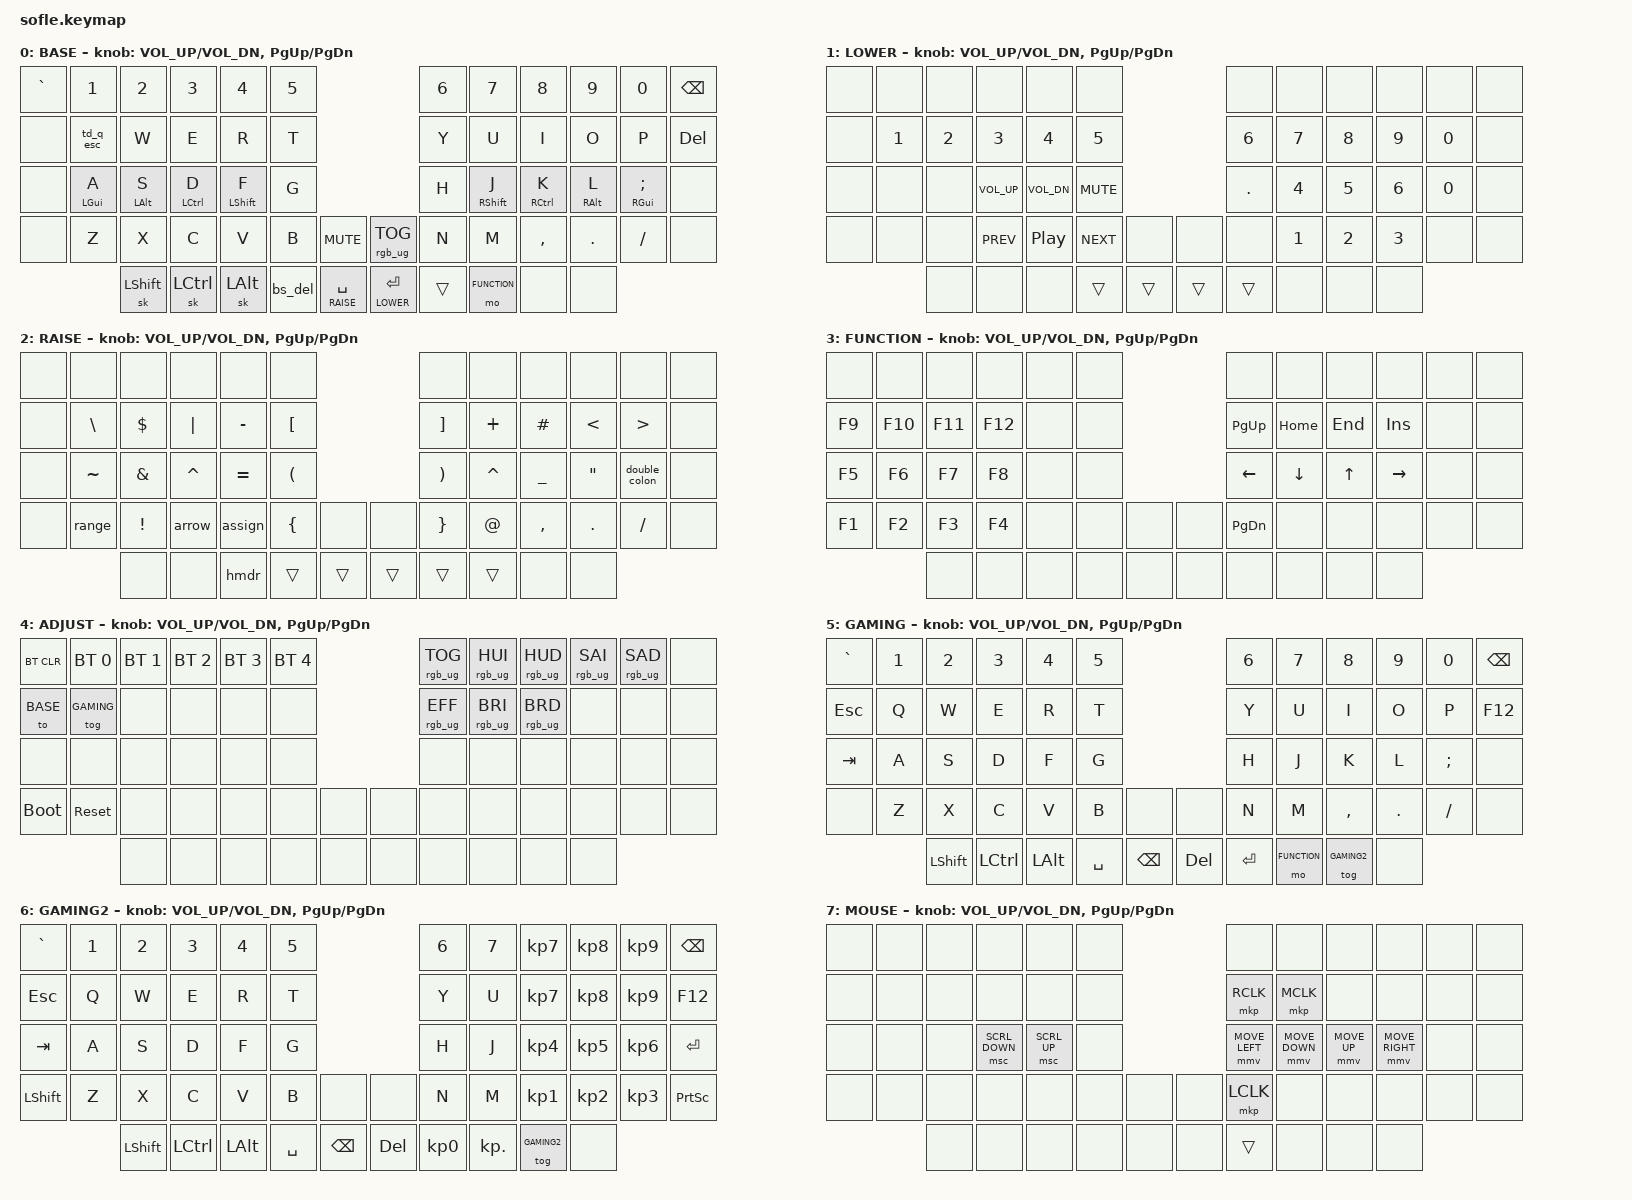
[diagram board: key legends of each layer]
/*
 * Ported from Mitosis QMK to Sofle ZMK
 * Copyright (c) 2020 The ZMK Contributors
 * SPDX-License-Identifier: MIT
 */

// clang-format off
#include <behaviors.dtsi>
#include <dt-bindings/zmk/bt.h>
#include <dt-bindings/zmk/keys.h>
#include <dt-bindings/zmk/rgb.h>
#include <dt-bindings/zmk/ext_power.h>
#include <dt-bindings/zmk/mouse.h>
#include <dt-bindings/zmk/pointing.h>

// shared files to cleanup the keymaps and have code re-use
#include "shared/behaviors.dtsi"
#include "shared/combos.dtsi"
#include "shared/macros.dtsi"

// zmk-helper stuff
#include "zmk-helpers/helper.h"

// Source desired key-position labels
#include "zmk-helpers/key-labels/sofle.h"

#define BASE 0
#define LOWER 1
#define RAISE 2
#define FUNCTION 3
#define ADJUST 4
#define GAMING 5
#define GAMING2 6
#define MOUSE 7

#define ZMK_LAYER(name, layout) \
    name { \
        bindings = <layout>; \
    };

/ {

chosen {
        zmk,underglow = &led_strip;
    };

    behaviors {
        hm_l: homerow_mods_left {
            compatible = "zmk,behavior-hold-tap";
            #binding-cells = <2>;
            tapping-term-ms = <200>;
            quick-tap-ms = <175>;
            require-prior-idle-ms = <150>;
            flavor = "balanced";
            bindings = <&kp>, <&kp>;
            hold-trigger-key-positions = <5 6 7 8 9 15 16 17 18 19 25 26 27 28 29 30 31 32 33>;
            hold-trigger-on-release;
        };

        hm_r: homerow_mods_right {
            compatible = "zmk,behavior-hold-tap";
            #binding-cells = <2>;
            tapping-term-ms = <200>;
            quick-tap-ms = <175>;
            require-prior-idle-ms = <150>;
            flavor = "balanced";
            bindings = <&kp>, <&kp>;
            hold-trigger-key-positions = <0 1 2 3 4 10 11 12 13 14 20 21 22 23 24 30 31 32 33>;
            hold-trigger-on-release;
        };

        bs_del: backspace_delete {
            compatible = "zmk,behavior-mod-morph";
            #binding-cells = <0>;
            bindings = <&kp BSPC>, <&kp DEL>;
            mods = <(MOD_LSFT|MOD_RSFT)>;
        };

        td_q_esc: tap_dance_q_esc {
            compatible = "zmk,behavior-tap-dance";
            #binding-cells = <0>;
            tapping-term-ms = <200>;
            bindings = <&kp Q>, <&kp ESC>;
        };
    };

    macros {
        assign: assign_macro {
            compatible = "zmk,behavior-macro";
            #binding-cells = <0>;
            bindings = <&kp COLON &kp EQUAL>;
        };
        arrow: arrow_macro {
            compatible = "zmk,behavior-macro";
            #binding-cells = <0>;
            bindings = <&kp MINUS &kp GT>;
        };
        double_colon: double_colon_macro {
            compatible = "zmk,behavior-macro";
            #binding-cells = <0>;
            bindings = <&kp COLON &kp COLON>;
        };
        dotdot: dotdot_macro {
            compatible = "zmk,behavior-macro";
            #binding-cells = <0>;
            bindings = <&kp DOT &kp DOT &kp FSLH>;
        };
        range: range_macro {
            compatible = "zmk,behavior-macro";
            #binding-cells = <0>;
            bindings = <&kp DOT &kp DOT &kp EQUAL>;
        };
        hmdr: hmdr_macro {
            compatible = "zmk,behavior-macro";
            #binding-cells = <0>;
            bindings = <&kp TILDE &kp FSLH>;
        };
    };

    conditional_layers {
        compatible = "zmk,conditional-layers";
        tri_layer {
            if-layers = <1 2>; // lower and raise
            then-layer = <4>;
        };
    };

    combos {
        compatible = "zmk,combos";
        combo_esc {
            timeout-ms = <50>;
            key-positions = <16 17>;
            bindings = <&kp ESC>;
            layers = <BASE>;
        };
        combo_caps_word {
            timeout-ms = <50>;
            key-positions = <13 16>;
            bindings = <&caps_word>;
        };
    };

    keymap {
        compatible = "zmk,keymap";

        // BASE LAYER
        default_layer {
            display-name = "BASE";
// ╭─────┬─────┬─────┬─────┬─────┬─────╮                 ╭─────┬─────┬─────┬─────┬─────┬─────╮
// │  `  │  1  │  2  │  3  │  4  │  5  │                 │  6  │  7  │  8  │  9  │  0  │BKSPC│
// ├─────┼─────┼─────┼─────┼─────┼─────┤                 ├─────┼─────┼─────┼─────┼─────┼─────┤
// │     │  Q  │  W  │  E  │  R  │  T  │                 │  Y  │  U  │  I  │  O  │  P  │ DEL │
// ├─────┼─────┼─────┼─────┼─────┼─────┤                 ├─────┼─────┼─────┼─────┼─────┼─────┤
// │     │  A  │  S  │  D  │  F  │  G  │                 │  H  │  J  │  K  │  L  │  ;  │  '  │
// ├─────┼─────┼─────┼─────┼─────┼─────┼─────╮     ╭─────┼─────┼─────┼─────┼─────┼─────┼─────┤
// │     │  Z  │  X  |  C  │  V  │  B  │ ENC │     │ ENC │  N  │  M  │  ,  │  .  │  /  │     │
// ╰─────┴─────┼─────┼─────┼─────┼─────┼─────┤     ├─────┼─────┼─────┼─────┼─────┴─────┴─────╯
//             │     │     │     │BKSPC|SP/RA│     │EN/LO│     │     │     │     │
//             ╰─────┴─────┴─────┴─────┴─────╯     ╰─────┴─────┴─────┴─────┴─────╯
            bindings = <
&kp GRAVE &kp N1 &kp N2 &kp N3    &kp N4    &kp N5                                             &kp N6       &kp N7    &kp N8   &kp N9   &kp N0   &kp BSPC
&none     &td_q_esc     &kp W     &kp E     &kp R &kp T                                        &kp Y        &kp U     &kp I    &kp O    &kp P    &kp DEL
&none    &hm_l LGUI A &hm_l LALT S &hm_l LCTRL D &hm_l LSHFT F &kp G                           &kp H  &hm_r RSHFT J &hm_r RCTRL K &hm_r RALT L &hm_r RGUI SEMI &none
&none    &kp Z  &kp X  &kp C     &kp V     &kp B     &kp C_MUTE             &rgb_ug RGB_TOG    &kp N         &kp M      &kp COMMA  &kp DOT  &kp FSLH        &none
                    &sk LSHFT &sk LCTRL &sk LALT &bs_del &lt RAISE SPACE    &lt LOWER RET &trans &mo FUNCTION &none    &none
            >;

            sensor-bindings = <&inc_dec_kp C_VOL_UP C_VOL_DN &inc_dec_kp PG_UP PG_DN>;
        };

        // LOWER LAYER - Numbers and Media
        lower_layer {
            display-name = "LOWER";
// ╭─────┬─────┬─────┬─────┬─────┬─────╮                 ╭─────┬─────┬─────┬─────┬─────┬─────╮
// │     │     │     │     │     │     │                 │     │     │     │     │     │     │
// ├─────┼─────┼─────┼─────┼─────┼─────┤                 ├─────┼─────┼─────┼─────┼─────┼─────┤
// │     │  1  │  2  │  3  │  4  │  5  │                 │  6  │  7  │  8  │  9  │  0  │     │
// ├─────┼─────┼─────┼─────┼─────┼─────┤                 ├─────┼─────┼─────┼─────┼─────┼─────┤
// │     │     │     │VOLUP│VOLDN│MUTE |                 │  .  │  4  │  5  │  6  │  0  │     │
// ├─────┼─────┼─────┼─────┼─────┼─────┼─────╮     ╭─────┼─────┼─────┼─────┼─────┼─────┼─────┤
// │     │     │     │ PREV│PLYPS│NEXT │     │     │     │     │  1  │  2  │  3  │     │     │
// ╰─────┴─────┼─────┼─────┼─────┼─────┼─────┤     ├─────┼─────┼─────┼─────┼─────┴─────┴─────╯
//             │     │     │     │     │     │     │     │     │     │     │     │
//             ╰─────┴─────┴─────┴─────┴─────╯     ╰─────┴─────┴─────┴─────┴─────╯
            bindings = <
&none  &none  &none     &none     &none     &none                       &none    &none  &none  &none  &none &none
&none  &kp N1 &kp N2    &kp N3    &kp N4    &kp N5                      &kp N6   &kp N7 &kp N8 &kp N9 &kp N0 &none
&none  &none &none  &kp C_VOL_UP &kp C_VOL_DN &kp C_MUTE                &kp DOT  &kp N4 &kp N5 &kp N6 &kp N0 &none
&none  &none &none  &kp C_PREV   &kp C_PP  &kp C_NEXT   &none    &none  &none    &kp N1 &kp N2 &kp N3 &none  &none
              &none     &none     &none     &trans      &trans   &trans &trans   &none  &none  &none
            >;

            sensor-bindings = <&inc_dec_kp C_VOL_UP C_VOL_DN &inc_dec_kp PG_UP PG_DN>;
        };

        // RAISE LAYER - Symbols
        raise_layer {
            display-name = "RAISE";
// ╭─────┬─────┬─────┬─────┬─────┬─────╮                 ╭─────┬─────┬─────┬─────┬─────┬─────╮
// │     │     │     │     │     │     │                 │     │     │     │     │     │     │
// ├─────┼─────┼─────┼─────┼─────┼─────┤                 ├─────┼─────┼─────┼─────┼─────┼─────┤
// │     │  \  │  $  │  |  │  -  │  [  │                 │  ]  │  +  │  #  │  ;  │ ::  │     │
// ├─────┼─────┼─────┼─────┼─────┼─────┤                 ├─────┼─────┼─────┼─────┼─────┼─────┤
// │     │  ~  │  &  │  *  │  =  │  (  │                 │  )  │  ^  │  _  │  %  │  :  │     │
// ├─────┼─────┼─────┼─────┼─────┼─────┼─────╮     ╭─────┼─────┼─────┼─────┼─────┼─────┼─────┤
// │     │ ..= │  !  │  '  │  "  │  {  │     │     │     │  }  │  @  │  <  │  >  │  ?  │     │
// ╰─────┴─────┼─────┼─────┼─────┼─────┼─────┤     ├─────┼─────┼─────┼─────┼─────┴─────┴─────╯
//             │     │     │     │HOLD │     │     │SPACE│LOWER│     │     │     │
//             ╰─────┴─────┴─────┴─────┴─────╯     ╰─────┴─────┴─────┴─────┴─────╯
            bindings = <
&none     &none    &none    &none    &none     &none                        &none     &none     &none    &none   &none  &none
&none &kp BSLH &kp DLLR &kp PIPE &kp MINUS &kp LBKT                          &kp RBKT  &kp PLUS  &kp HASH &kp LT  &kp GT &none
&none &kp TILDE &kp AMPS &kp CARET &kp EQUAL &kp LPAR                        &kp RPAR  &kp CARET &kp UNDER &kp DQT &double_colon  &none
&none &range    &kp EXCL &arrow   &assign  &kp LBRC      &none      &none   &kp RBRC  &kp AT    &kp COMMA &kp DOT &kp FSLH &none
                   &none    &none    &hmdr     &trans   &trans      &trans &trans  &trans &none &none
            >;

            sensor-bindings = <&inc_dec_kp C_VOL_UP C_VOL_DN &inc_dec_kp PG_UP PG_DN>;
        };

        // FUNCTION LAYER - F-keys and Navigation
        function_layer {
            display-name = "FUNCTION";
// ╭─────┬─────┬─────┬─────┬─────┬─────╮                 ╭─────┬─────┬─────┬─────┬─────┬─────╮
// │     │     │     │     │     │     │                 │     │     │     │     │     │     │
// ├─────┼─────┼─────┼─────┼─────┼─────┤                 ├─────┼─────┼─────┼─────┼─────┼─────┤
// │  F9 │ F10 │ F11 │ F12 │     │     │                 │PGUP │HOME │ END │ INS │     │     │
// ├─────┼─────┼─────┼─────┼─────┼─────┤                 ├─────┼─────┼─────┼─────┼─────┼─────┤
// │  F5 │  F6 │  F7 │  F8 │     │     │                 │LEFT │DOWN │ UP  │RIGHT│     │     │
// ├─────┼─────┼─────┼─────┼─────┼─────┼─────╮     ╭─────┼─────┼─────┼─────┼─────┼─────┼─────┤
// │  F1 │  F2 │  F3 │  F4 │     │     │     │     │     │PGDN │     │     │     │     │     │
// ╰─────┴─────┼─────┼─────┼─────┼─────┼─────┤     ├─────┼─────┼─────┼─────┼─────┴─────┴─────╯
//             │     │     │     │     │     │     │     │     │     │     │     │
//             ╰─────┴─────┴─────┴─────┴─────╯     ╰─────┴─────┴─────┴─────┴─────╯
            bindings = <
&none  &none  &none  &none     &none  &none                      &none     &none     &none   &none      &none &none
&kp F9 &kp F10 &kp F11 &kp F12 &none &none                       &kp PG_UP &kp HOME  &kp END &kp INS    &none &none
&kp F5 &kp F6 &kp F7 &kp F8    &none  &none                      &kp LEFT  &kp DOWN  &kp UP  &kp RIGHT  &none &none
&kp F1 &kp F2 &kp F3 &kp F4    &none  &none   &none      &none   &kp PG_DN &none     &none   &none      &none &none
              &none  &none     &none  &none   &none      &none   &none     &none &none   &none
            >;

            sensor-bindings = <&inc_dec_kp C_VOL_UP C_VOL_DN &inc_dec_kp PG_UP PG_DN>;
        };

        // ADJUST LAYER - System controls and RGB
        adjust_layer {
            display-name = "ADJUST";
// ╭─────┬─────┬─────┬─────┬─────┬─────╮                 ╭─────┬─────┬─────┬─────┬─────┬─────╮
// │BTCLR│ BT0 │ BT1 │ BT2 │ BT3 │ BT4 │                 │RGBTG│RGBH+│RGBH-│RGBS+│RGBS-│     │
// ├─────┼─────┼─────┼─────┼─────┼─────┤                 ├─────┼─────┼─────┼─────┼─────┼─────┤
// │BASE │GAMIN│     │     │     │     │                 │RGBEF│RGBB+│RGBB-│     │     │     │
// ├─────┼─────┼─────┼─────┼─────┼─────┤                 ├─────┼─────┼─────┼─────┼─────┼─────┤
// │     │     │     │     │     │     │                 │     │     │     │     │     │     │
// ├─────┼─────┼─────┼─────┼─────┼─────┼─────╮     ╭─────┼─────┼─────┼─────┼─────┼─────┼─────┤
// │BOOT │RESET│     │     │     │     │     │     │     │     │     │     │     │     │     │
// ╰─────┴─────┼─────┼─────┼─────┼─────┼─────┤     ├─────┼─────┼─────┼─────┼─────┼─────┴─────╯
//             │     │     │     │     │     │     │     │     │     │     │     │
//             ╰─────┴─────┴─────┴─────┴─────╯     ╰─────┴─────┴─────┴─────┴─────╯
            bindings = <
&bt BT_CLR     &bt BT_SEL 0 &bt BT_SEL 1 &bt BT_SEL 2 &bt BT_SEL 3 &bt BT_SEL 4            &rgb_ug RGB_TOG &rgb_ug RGB_HUI &rgb_ug RGB_HUD &rgb_ug RGB_SAI &rgb_ug RGB_SAD &none
&to BASE       &tog GAMING  &none        &none        &none        &none                   &rgb_ug RGB_EFF &rgb_ug RGB_BRI &rgb_ug RGB_BRD &none           &none           &none
&none          &none        &none        &none        &none        &none                   &none           &none           &none           &none           &none           &none
&bootloader    &sys_reset   &none        &none        &none        &none &none       &none &none           &none           &none           &none           &none           &none
                            &none        &none        &none        &none &none       &none &none           &none           &none           &none
            >;

            sensor-bindings = <&inc_dec_kp C_VOL_UP C_VOL_DN &inc_dec_kp PG_UP PG_DN>;
        };

        // GAMING LAYER - No home row mods for gaming
        gaming_layer {
            display-name = "GAMING";
// ╭─────┬─────┬─────┬─────┬─────┬─────╮                 ╭─────┬─────┬─────┬─────┬─────┬─────╮
// │  `  │  1  │  2  │  3  │  4  │  5  │                 │  6  │  7  │  8  │  9  │  0  │BKSPC│
// ├─────┼─────┼─────┼─────┼─────┼─────┤                 ├─────┼─────┼─────┼─────┼─────┼─────┤
// │ ESC │  Q  │  W  │  E  │  R  │  T  │                 │  Y  │  U  │  I  │  O  │  P  │     │
// ├─────┼─────┼─────┼─────┼─────┼─────┤                 ├─────┼─────┼─────┼─────┼─────┼─────┤
// │ TAB │  A  │  S  │  D  │  F  │  G  │                 │  H  │  J  │  K  │  L  │  ;  │     │
// ├─────┼─────┼─────┼─────┼─────┼─────┼─────╮     ╭─────┼─────┼─────┼─────┼─────┼─────┼─────┤
// │     │  Z  │  X  |  C  │  V  │  B  │     │     │     │  N  │  M  │  ,  │  .  │  /  │     │
// ╰─────┴─────┼─────┼─────┼─────┼─────┼─────┤     ├─────┼─────┼─────┼─────┼─────┴─────┴─────╯
//             │SHIFT│ CTRL│ ALT │SPACE│BKSPC│     │ DEL │ENTER│ FN  │TOGGL│     │
//             ╰─────┴─────┴─────┴─────┴─────╯     ╰─────┴─────┴─────┴─────┴─────╯
            bindings = <
&kp GRAVE &kp N1 &kp N2 &kp N3 &kp N4 &kp N5                          &kp N6 &kp N7 &kp N8 &kp N9 &kp N0 &kp BSPC
&kp ESC &kp Q &kp W &kp E &kp R &kp T                                 &kp Y &kp U &kp I &kp O &kp P &kp F12
&kp TAB &kp A &kp S &kp D &kp F &kp G                                 &kp H &kp J &kp K &kp L &kp SEMI &none
&none &kp Z &kp X &kp C &kp V &kp B &none                  &none      &kp N &kp M &kp COMMA &kp DOT &kp FSLH &none
            &kp LSHFT &kp LCTRL &kp LALT &kp SPACE &kp BSPC           &kp DEL &kp RET &mo FUNCTION &tog GAMING2 &none
            >;

            sensor-bindings = <&inc_dec_kp C_VOL_UP C_VOL_DN &inc_dec_kp PG_UP PG_DN>;
        };

        // GAMING2 LAYER - Numpad for roguelikes
        gaming2_layer {
            display-name = "GAMING2";
// ╭─────┬─────┬─────┬─────┬─────┬─────╮                 ╭─────┬─────┬─────┬─────┬─────┬─────╮
// │  `  │  1  │  2  │  3  │  4  │  5  │                 │  6  │  7  │  8  │  9  │  0  │BKSPC│
// ├─────┼─────┼─────┼─────┼─────┼─────┤                 ├─────┼─────┼─────┼─────┼─────┼─────┤
// │ ESC │  Q  │  W  │  E  │  R  │  T  │                 │  Y  │  U  │ KP7 │ KP8 │ KP9 │ F12 │
// ├─────┼─────┼─────┼─────┼─────┼─────┤                 ├─────┼─────┼─────┼─────┼─────┼─────┤
// │ TAB │  A  │  S  │  D  │  F  │  G  │                 │  H  │  J  │ KP4 │ KP5 │ KP6 │ENTER│
// ├─────┼─────┼─────┼─────┼─────┼─────┼─────╮     ╭─────┼─────┼─────┼─────┼─────┼─────┼─────┤
// │SHIFT│  Z  │  X  |  C  │  V  │  B  │     │     │     │  N  │  M  │ KP1 │ KP2 │ KP3 │PRTSC│
// ╰─────┴─────┼─────┼─────┼─────┼─────┼─────┤     ├─────┼─────┼─────┼─────┼─────┴─────┴─────╯
//             │SHIFT│ CTRL│ ALT │SPACE│BKSPC│     │ DEL │ KP0 │ KP. │TOGGL│     │
//             ╰─────┴─────┴─────┴─────┴─────╯     ╰─────┴─────┴─────┴─────┴─────╯
            bindings = <
&kp GRAVE &kp N1 &kp N2 &kp N3 &kp N4 &kp N5                          &kp N6 &kp N7 &kp KP_N7 &kp KP_N8 &kp KP_N9 &kp BSPC
&kp ESC &kp Q &kp W &kp E &kp R &kp T                                 &kp Y &kp U &kp KP_N7 &kp KP_N8 &kp KP_N9 &kp F12
&kp TAB &kp A &kp S &kp D &kp F &kp G                                 &kp H &kp J &kp KP_N4 &kp KP_N5 &kp KP_N6 &kp RET
&kp LSHFT &kp Z &kp X &kp C &kp V &kp B &none              &none      &kp N &kp M &kp KP_N1 &kp KP_N2 &kp KP_N3 &kp PSCRN
            &kp LSHFT &kp LCTRL &kp LALT &kp SPACE &kp BSPC           &kp DEL &kp KP_N0 &kp KP_DOT &tog GAMING2 &none
            >;

            sensor-bindings = <&inc_dec_kp C_VOL_UP C_VOL_DN &inc_dec_kp PG_UP PG_DN>;
        };

        // MOUSE LAYER - Vim-style mouse control
        mouse_layer {
            display-name = "MOUSE";
// ╭─────┬─────┬─────┬─────┬─────┬─────╮                 ╭─────┬─────┬─────┬─────┬─────┬─────╮
// │     │     │     │     │     │     │                 │     │     │     │     │     │     │
// ├─────┼─────┼─────┼─────┼─────┼─────┤                 ├─────┼─────┼─────┼─────┼─────┼─────┤
// │     │     │     │     │     │     │                 │RCLK │MCLK │     │     │     │     │
// ├─────┼─────┼─────┼─────┼─────┼─────┤                 ├─────┼─────┼─────┼─────┼─────┼─────┤
// │     │     │     │SCR↓ │SCR↑ │     │                 │  ←  │  ↓  │  ↑  │  →  │     │     │
// ├─────┼─────┼─────┼─────┼─────┼─────┼─────╮     ╭─────┼─────┼─────┼─────┼─────┼─────┼─────┤
// │     │     │     │     │     │     │     │     │     │LCLK │     │     │     │     │     │
// ╰─────┴─────┼─────┼─────┼─────┼─────┼─────┤     ├─────┼─────┼─────┼─────┼─────┴─────┴─────╯
//             │     │     │     │     │     │     │     │     │MOUSE│     │     │
//             ╰─────┴─────┴─────┴─────┴─────╯     ╰─────┴─────┴─────┴─────┴─────╯
            bindings = <
&none &none &none &none &none &none                                           &none &none &none &none &none &none
&none &none &none &none &none &none                                           &mkp RCLK &mkp MCLK &none &none &none &none
&none &none &none &msc SCRL_DOWN &msc SCRL_UP &none                           &mmv MOVE_LEFT &mmv MOVE_DOWN &mmv MOVE_UP &mmv MOVE_RIGHT &none &none
&none &none &none &none &none &none &none                          &none      &mkp LCLK &none &none &none &none &none
            &none &none &none &none &none                                     &none &trans &none &none &none
            >;

            sensor-bindings = <&inc_dec_kp C_VOL_UP C_VOL_DN &inc_dec_kp PG_UP PG_DN>;
        };
    };
};


/* Blank slates

    ╭─────┬─────┬─────┬─────┬─────┬─────╮                 ╭─────┬─────┬─────┬─────┬─────┬─────╮
    │     │     │     │     │     │     │                 │     │     │     │     │     │     │
    ├─────┼─────┼─────┼─────┼─────┼─────┤                 ├─────┼─────┼─────┼─────┼─────┼─────┤
    │     │     │     │     │     │     │                 │     │     │     │     │     │     │
    ├─────┼─────┼─────┼─────┼─────┼─────┤                 ├─────┼─────┼─────┼─────┼─────┼─────┤
    │     │     │     │     │     │     │                 │     │     │     │     │     │     │
    ├─────┼─────┼─────┼─────┼─────┼─────┼─────╮     ╭─────┼─────┼─────┼─────┼─────┼─────┼─────┤
    │     │     │     │     │     │     │     │     │     │     │     │     │     │     │     │
    ╰─────┴─────┼─────┼─────┼─────┼─────┼─────┤     ├─────┼─────┼─────┼─────┼─────┴─────┴─────╯
                │     │     │     │     │     │     │     │     │     │     │     │
                ╰─────┴─────┴─────┴─────┴─────╯     ╰─────┴─────┴─────┴─────┴─────╯

   &none &none &none &none &none &none             &none &none &none &none &none &none
   &none &none &none &none &none &none             &none &none &none &none &none &none
   &none &none &none &none &none &none             &none &none &none &none &none &none
   &none &none &none &none &none &none &none &none &none &none &none &none &none &none
               &none &none &none &none &none &none &none &none &none &none

 */
